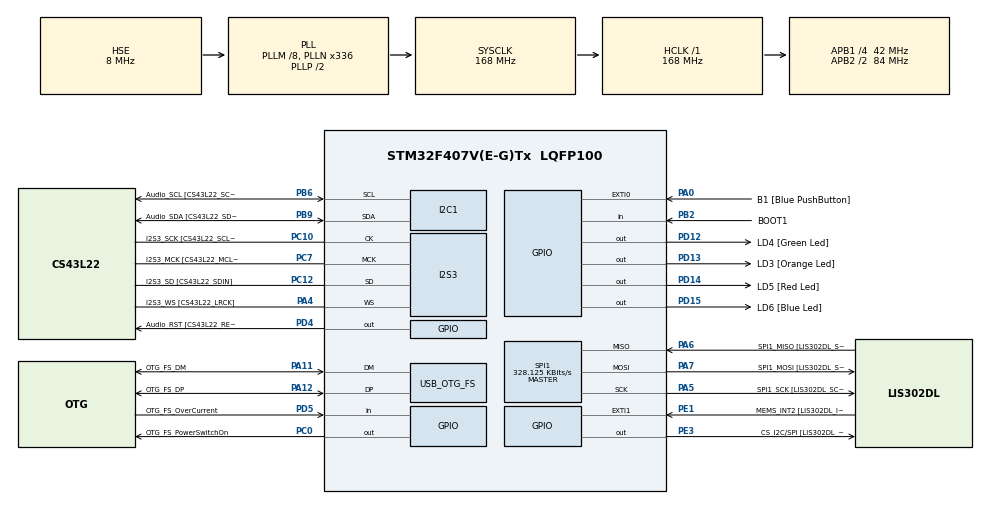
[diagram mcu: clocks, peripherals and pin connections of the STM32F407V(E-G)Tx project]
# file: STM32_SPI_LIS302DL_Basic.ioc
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I2S3.AudioFreq-Half_Duplex_Master=I2S_AUDIOFREQ_96K
I2S3.ErrorAudioFreq=-2.34 %
I2S3.ErrorAudioFreq-Half_Duplex_Master=0.8 %
I2S3.FullDuplexMode=I2S_FULLDUPLEXMODE_DISABLE
I2S3.Instance=SPI$Index
I2S3.RealAudioFreq=93.75 KHz
I2S3.RealAudioFreq-Half_Duplex_Master=96.774 KHz
I2S3.VirtualMode=I2S_MODE_MASTER
Mcu.Family=STM32F4
Mcu.Name=STM32F407V(E-G)Tx
Mcu.Package=LQFP100
NVIC.OTG_FS_IRQn=true\:0\:0\:false\:false\:true\:true\:true\:true
NVIC.PriorityGroup=NVIC_PRIORITYGROUP_0
PA0-WKUP.GPIO_Label=B1 [Blue PushButton]
PA0-WKUP.GPIO_ModeDefaultEXTI=GPIO_MODE_EVT_RISING
PA0-WKUP.GPIO_PuPd=GPIO_NOPULL
PA0-WKUP.Signal=GPXTI0
PA10.GPIO_Label=OTG_FS_ID
PA10.GPIO_Mode=GPIO_MODE_AF_PP
PA10.GPIO_PuPd=GPIO_NOPULL
PA10.GPIO_Speed=GPIO_SPEED_FREQ_LOW
PA10.Signal=USB_OTG_FS_ID
PA11.GPIO_Label=OTG_FS_DM
PA11.GPIO_Mode=GPIO_MODE_AF_PP
PA11.GPIO_PuPd=GPIO_NOPULL
PA11.GPIO_Speed=GPIO_SPEED_FREQ_LOW
PA11.Mode=Device_Only
PA11.Signal=USB_OTG_FS_DM
PA12.GPIO_Label=OTG_FS_DP
PA12.GPIO_Mode=GPIO_MODE_AF_PP
PA12.GPIO_PuPd=GPIO_NOPULL
PA12.GPIO_Speed=GPIO_SPEED_FREQ_LOW
PA12.Mode=Device_Only
PA12.Signal=USB_OTG_FS_DP
PA13.GPIO_Label=SWDIO
PA13.Mode=Serial_Wire
PA13.Signal=SYS_JTMS-SWDIO
PA14.GPIO_Label=SWCLK
PA14.Mode=Serial_Wire
PA14.Signal=SYS_JTCK-SWCLK
PA4.GPIO_Label=I2S3_WS [CS43L22_LRCK]
PA4.GPIO_Mode=GPIO_MODE_AF_PP
PA4.GPIO_PuPd=GPIO_NOPULL
PA4.GPIO_Speed=GPIO_SPEED_FREQ_LOW
PA4.Mode=Half_Duplex_Master
PA4.Signal=I2S3_WS
PA5.GPIO_Label=SPI1_SCK [LIS302DL_SCL/SPC]
PA5.GPIO_Mode=GPIO_MODE_AF_PP
PA5.GPIO_PuPd=GPIO_NOPULL
PA5.GPIO_Speed=GPIO_SPEED_FREQ_LOW
PA5.Mode=Full_Duplex_Master
PA5.Signal=SPI1_SCK
PA6.GPIO_Label=SPI1_MISO [LIS302DL_SDO]
PA6.GPIO_Mode=GPIO_MODE_AF_PP
PA6.GPIO_PuPd=GPIO_NOPULL
PA6.GPIO_Speed=GPIO_SPEED_FREQ_LOW
PA6.Mode=Full_Duplex_Master
PA6.Signal=SPI1_MISO
PA7.GPIO_Label=SPI1_MOSI [LIS302DL_SDA/SDI/SDO]
PA7.GPIO_Mode=GPIO_MODE_AF_PP
PA7.GPIO_PuPd=GPIO_NOPULL
PA7.GPIO_Speed=GPIO_SPEED_FREQ_LOW
PA7.Mode=Full_Duplex_Master
PA7.Signal=SPI1_MOSI
PA9.GPIO_Label=VBUS_FS
PA9.GPIO_Mode=GPIO_MODE_INPUT
PA9.GPIO_PuPd=GPIO_NOPULL
PA9.Signal=USB_OTG_FS_VBUS
PB10.GPIO_Label=CLK_IN [MP45DT02_CLK]
PB10.GPIO_Mode=GPIO_MODE_AF_PP
PB10.GPIO_PuPd=GPIO_NOPULL
PB10.GPIO_Speed=GPIO_SPEED_FREQ_LOW
PB10.Signal=I2S2_CK
PB2.GPIO_Label=BOOT1
PB2.GPIO_Mode=GPIO_MODE_INPUT
PB2.GPIO_PuPd=GPIO_NOPULL
PB2.Signal=GPIO_Input
PB3.GPIO_Label=SWO
PB3.Signal=SYS_JTDO-SWO
PB6.GPIO_Label=Audio_SCL [CS43L22_SCL]
PB6.GPIO_Mode=GPIO_MODE_AF_OD
PB6.GPIO_Pu=GPIO_PULLUP
PB6.GPIO_PuPd=GPIO_NOPULL
PB6.GPIO_Speed=GPIO_SPEED_FREQ_LOW
PB6.Mode=I2C
PB6.Signal=I2C1_SCL
PB9.GPIO_Label=Audio_SDA [CS43L22_SDA]
PB9.GPIO_Mode=GPIO_MODE_AF_OD
PB9.GPIO_Pu=GPIO_PULLUP
PB9.GPIO_PuPd=GPIO_NOPULL
PB9.GPIO_Speed=GPIO_SPEED_FREQ_LOW
PB9.Mode=I2C
PB9.Signal=I2C1_SDA
PC0.GPIO_Label=OTG_FS_PowerSwitchOn
PC0.GPIO_PuPd=GPIO_NOPULL
PC0.GPIO_Speed=GPIO_SPEED_FREQ_LOW
PC0.PinState=GPIO_PIN_SET
PC0.Signal=GPIO_Output
PC10.GPIO_Label=I2S3_SCK [CS43L22_SCLK]
PC10.GPIO_Mode=GPIO_MODE_AF_PP
PC10.GPIO_PuPd=GPIO_NOPULL
PC10.GPIO_Speed=GPIO_SPEED_FREQ_LOW
PC10.Mode=Half_Duplex_Master
PC10.Signal=I2S3_CK
PC12.GPIO_Label=I2S3_SD [CS43L22_SDIN]
PC12.GPIO_Mode=GPIO_MODE_AF_PP
PC12.GPIO_PuPd=GPIO_NOPULL
PC12.GPIO_Speed=GPIO_SPEED_FREQ_LOW
PC12.Mode=Half_Duplex_Master
PC12.Signal=I2S3_SD
PC14-OSC32_IN.GPIO_Label=PC14-OSC32_IN
PC14-OSC32_IN.Mode=LSE-External-Oscillator
PC14-OSC32_IN.Signal=RCC_OSC32_IN
PC15-OSC32_OUT.GPIO_Label=PC15-OSC32_OUT
PC15-OSC32_OUT.Mode=LSE-External-Oscillator
PC15-OSC32_OUT.Signal=RCC_OSC32_OUT
PC3.GPIO_Label=PDM_OUT [MP45DT02_DOUT]
PC3.GPIO_Mode=GPIO_MODE_AF_PP
PC3.GPIO_PuPd=GPIO_NOPULL
PC3.GPIO_Speed=GPIO_SPEED_FREQ_LOW
PC3.Signal=I2S2_SD
PC7.GPIO_Label=I2S3_MCK [CS43L22_MCLK]
PC7.GPIO_Mode=GPIO_MODE_AF_PP
PC7.GPIO_PuPd=GPIO_NOPULL
PC7.GPIO_Speed=GPIO_SPEED_FREQ_LOW
PC7.Mode=Master_Clock_Activated
PC7.Signal=I2S3_MCK
PD12.GPIO_Label=LD4 [Green Led]
PD12.GPIO_PuPd=GPIO_NOPULL
PD12.GPIO_Speed=GPIO_SPEED_FREQ_LOW
PD12.Signal=GPIO_Output
PD13.GPIO_Label=LD3 [Orange Led]
PD13.GPIO_PuPd=GPIO_NOPULL
PD13.GPIO_Speed=GPIO_SPEED_FREQ_LOW
PD13.Signal=GPIO_Output
PD14.GPIO_Label=LD5 [Red Led]
PD14.GPIO_PuPd=GPIO_NOPULL
PD14.GPIO_Speed=GPIO_SPEED_FREQ_LOW
PD14.Signal=GPIO_Output
PD15.GPIO_Label=LD6 [Blue Led]
PD15.GPIO_PuPd=GPIO_NOPULL
PD15.GPIO_Speed=GPIO_SPEED_FREQ_LOW
PD15.Signal=GPIO_Output
PD4.GPIO_Label=Audio_RST [CS43L22_RESET]
PD4.GPIO_PuPd=GPIO_NOPULL
PD4.GPIO_Speed=GPIO_SPEED_FREQ_LOW
PD4.Signal=GPIO_Output
PD5.GPIO_Label=OTG_FS_OverCurrent
PD5.GPIO_Mode=GPIO_MODE_INPUT
PD5.GPIO_PuPd=GPIO_NOPULL
PD5.Signal=GPIO_Input
PE1.GPIO_Label=MEMS_INT2 [LIS302DL_INT2]
PE1.GPIO_ModeDefaultEXTI=GPIO_MODE_EVT_RISING
PE1.GPIO_PuPd=GPIO_NOPULL
PE1.Signal=GPXTI1
PE3.GPIO_Label=CS_I2C/SPI [LIS302DL_CS_I2C/SPI]
PE3.GPIO_PuPd=GPIO_NOPULL
PE3.GPIO_Speed=GPIO_SPEED_FREQ_LOW
PE3.Signal=GPIO_Output
PH0-OSC_IN.GPIO_Label=PH0-OSC_IN
PH0-OSC_IN.Mode=HSE-External-Oscillator
PH0-OSC_IN.Signal=RCC_OSC_IN
PH1-OSC_OUT.GPIO_Label=PH1-OSC_OUT
PH1-OSC_OUT.Mode=HSE-External-Oscillator
PH1-OSC_OUT.Signal=RCC_OSC_OUT
ProjectManager.HeapSize=0x200
ProjectManager.StackSize=0x400
ProjectManager.TargetToolchain=STM32CubeIDE
RCC.48MHZClocksFreq_Value=48000000
RCC.AHBFreq_Value=168000000
RCC.APB1CLKDivider=RCC_HCLK_DIV4
RCC.APB1Freq_Value=42000000
RCC.APB1TimFreq_Value=84000000
RCC.APB2CLKDivider=RCC_HCLK_DIV2
RCC.APB2Freq_Value=84000000
RCC.APB2TimFreq_Value=168000000
RCC.CortexFreq_Value=168000000
RCC.HCLKFreq_Value=168000000
RCC.HSE_VALUE=8000000
RCC.HSI_VALUE=16000000
RCC.PLLM=8
RCC.PLLN=336
RCC.PLLQ=7
RCC.SYSCLKFreq_VALUE=168000000
RCC.SYSCLKSource=RCC_SYSCLKSOURCE_PLLCLK
RCC.VCOOutputFreq_Value=336000000
SPI1.BaudRatePrescaler=SPI_BAUDRATEPRESCALER_256
SPI1.BaudRatePrescaler-Full_Duplex_Master=SPI_BAUDRATEPRESCALER_2
SPI1.CalculateBaudRate=328.125 KBits/s
SPI1.CalculateBaudRate-Full_Duplex_Master=42.0 MBits/s
SPI1.Direction=SPI_DIRECTION_2LINES
SPI1.Mode=SPI_MODE_MASTER
SPI1.Mode-Full_Duplex_Master=SPI_MODE_MASTER
SPI1.VirtualType=VM_MASTER
USB_DEVICE.CLASS_NAME_FS=CDC
USB_DEVICE.PRODUCT_STRING_CDC_FS=STM32 Disco Virtual ComPort
USB_DEVICE.VirtualMode-CDC_FS=Cdc
USB_DEVICE.VirtualModeFS=Cdc_FS
USB_OTG_FS.VirtualMode=Device_Only
VP_USB_DEVICE_VS_USB_DEVICE_CDC_FS.Mode=CDC_FS
board=STM32F407G-DISC1

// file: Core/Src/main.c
/* USER CODE BEGIN Header */
/**
  ******************************************************************************
  * @file           : main.c
  * @brief          : Main program body
  ******************************************************************************
  * @attention
  *
  * <h2><center>&copy; Copyright (c) 2022 STMicroelectronics.
  * All rights reserved.</center></h2>
  *
  * This software component is licensed by ST under Ultimate Liberty license
  * SLA0044, the "License"; You may not use this file except in compliance with
  * the License. You may obtain a copy of the License at:
  *                             www.st.com/SLA0044
  *
  ******************************************************************************
  */
/* USER CODE END Header */
#include "main.h"
#include "i2c.h"
#include "i2s.h"
#include "spi.h"
#include "usb_device.h"
#include "gpio.h"

/* USER CODE BEGIN PV */
#define BUFSIZE 256
char	SendBuffer[BUFSIZE];
int	Counter;
int KeyState=0;

// Global variables
uint8_t indata[2];
uint8_t outdata[2] = {0,0};
uint8_t lis_id;
int8_t AccelX;
int8_t AccelY;
int8_t AccelZ;

HAL_StatusTypeDef SPIStatus;

/* USER CODE END PV */

void SystemClock_Config(void);

int main(void)
{

  /* MCU Configuration--------------------------------------------------------*/

  /* Reset of all peripherals, Initializes the Flash interface and the Systick. */
  HAL_Init();

  /* Configure the system clock */
  SystemClock_Config();

  /* Initialize all configured peripherals */
  MX_GPIO_Init();
  MX_I2C1_Init();
  MX_I2S3_Init();
  MX_SPI1_Init();
  MX_USB_DEVICE_Init();
  /* USER CODE BEGIN 2 */

  // Config accelerometer
  // Read WHOAMI register
  HAL_GPIO_WritePin(GPIOE, GPIO_PIN_3, GPIO_PIN_RESET);
  outdata[0] = 0x0f | 0x80 ;  // read whoami
  HAL_SPI_TransmitReceive(&hspi1, &outdata, &indata, 2, HAL_MAX_DELAY);
  lis_id = indata[1];
  HAL_GPIO_WritePin(GPIOE, GPIO_PIN_3, GPIO_PIN_SET);

  HAL_Delay(500);

  // Write to CTRL register (enable 3 axes meaurements on 25Hz)
  HAL_GPIO_WritePin(GPIOE, GPIO_PIN_3, GPIO_PIN_RESET);
  outdata[0] = 0x20 ;  // switch on axes
  outdata[1] = 0x47 ;
  HAL_SPI_TransmitReceive(&hspi1, &outdata, &indata, 2, HAL_MAX_DELAY);
  HAL_GPIO_WritePin(GPIOE, GPIO_PIN_3, GPIO_PIN_SET);

  HAL_Delay(500);
  outdata[1] = 0x00 ;

  /* USER CODE END 2 */

  /* Infinite loop */
  /* USER CODE BEGIN WHILE */
  while (1)
  {

	  	  // Read x,y,z axes
		  outdata[0] = 0x29 | 0x80  ;  // read x
		  HAL_GPIO_WritePin(GPIOE, GPIO_PIN_3, GPIO_PIN_RESET);
		  HAL_SPI_TransmitReceive(&hspi1, &outdata, &indata, 2, HAL_MAX_DELAY);
		  AccelX = indata[1];

		  outdata[0] = 0x2B | 0x80  ;  // read y
		  HAL_SPI_TransmitReceive(&hspi1, &outdata, &indata, 2, HAL_MAX_DELAY);
		  AccelY = indata[1];

		  outdata[0] = 0x2D | 0x80  ;  // read z
		  HAL_SPI_TransmitReceive(&hspi1, &outdata, &indata, 2, HAL_MAX_DELAY);
		  HAL_GPIO_WritePin(GPIOE, GPIO_PIN_3, GPIO_PIN_SET);
		  AccelZ = indata[1];

	 HAL_GPIO_TogglePin(GPIOD, GPIO_PIN_12);
	 HAL_GPIO_TogglePin(GPIOD, GPIO_PIN_13);
	 HAL_GPIO_TogglePin(GPIOD, GPIO_PIN_14);

	 KeyState = HAL_GPIO_ReadPin(GPIOA, GPIO_PIN_0);
	 HAL_GPIO_WritePin(GPIOD, GPIO_PIN_15, KeyState);

	  snprintf(SendBuffer,BUFSIZE,"Hello World [%d]: Key:%04d Accel[ID:%02x] X:%04d Y:%d Z:%04d\r\n",Counter++,KeyState,lis_id,AccelX,AccelY,AccelZ);
	  CDC_Transmit_FS(SendBuffer,strlen(SendBuffer));

    /* USER CODE END WHILE */

    /* USER CODE BEGIN 3 */
	  HAL_Delay(1000);
  }
  /* USER CODE END 3 */
}

void SystemClock_Config(void)
{
  RCC_OscInitTypeDef RCC_OscInitStruct = {0};
  RCC_ClkInitTypeDef RCC_ClkInitStruct = {0};

  /** Configure the main internal regulator output voltage
  */
  __HAL_RCC_PWR_CLK_ENABLE();
  __HAL_PWR_VOLTAGESCALING_CONFIG(PWR_REGULATOR_VOLTAGE_SCALE1);

  /** Initializes the RCC Oscillators according to the specified parameters
  * in the RCC_OscInitTypeDef structure.
  */
  RCC_OscInitStruct.OscillatorType = RCC_OSCILLATORTYPE_HSE;
  RCC_OscInitStruct.HSEState = RCC_HSE_ON;
  RCC_OscInitStruct.PLL.PLLState = RCC_PLL_ON;
  RCC_OscInitStruct.PLL.PLLSource = RCC_PLLSOURCE_HSE;
  RCC_OscInitStruct.PLL.PLLM = 8;
  RCC_OscInitStruct.PLL.PLLN = 336;
  RCC_OscInitStruct.PLL.PLLP = RCC_PLLP_DIV2;
  RCC_OscInitStruct.PLL.PLLQ = 7;
  if (HAL_RCC_OscConfig(&RCC_OscInitStruct) != HAL_OK)
  {
    Error_Handler();
  }

  /** Initializes the CPU, AHB and APB buses clocks
  */
  RCC_ClkInitStruct.ClockType = RCC_CLOCKTYPE_HCLK|RCC_CLOCKTYPE_SYSCLK
                              |RCC_CLOCKTYPE_PCLK1|RCC_CLOCKTYPE_PCLK2;
  RCC_ClkInitStruct.SYSCLKSource = RCC_SYSCLKSOURCE_PLLCLK;
  RCC_ClkInitStruct.AHBCLKDivider = RCC_SYSCLK_DIV1;
  RCC_ClkInitStruct.APB1CLKDivider = RCC_HCLK_DIV4;
  RCC_ClkInitStruct.APB2CLKDivider = RCC_HCLK_DIV2;

  if (HAL_RCC_ClockConfig(&RCC_ClkInitStruct, FLASH_LATENCY_5) != HAL_OK)
  {
    Error_Handler();
  }
}

void Error_Handler(void)
{
  __disable_irq();
  while (1)
  {
  }
}
